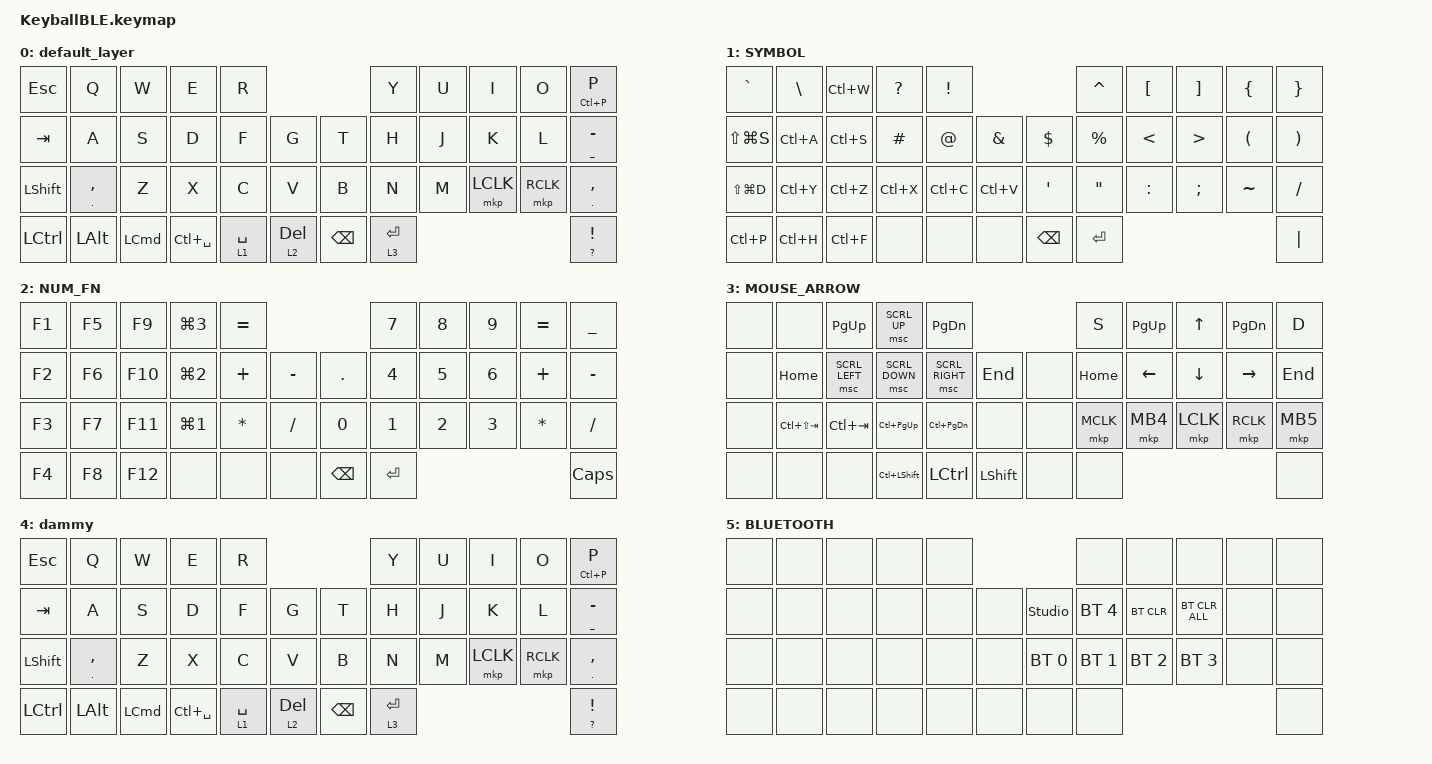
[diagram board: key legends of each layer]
#include <behaviors.dtsi>
#include <dt-bindings/zmk/bt.h>
#include <dt-bindings/zmk/keys.h>
#include <dt-bindings/zmk/pointing.h>

#define MOUSE 4
#define SCROLL 5
#define NUM 6

/ {
    combos { compatible = "zmk,combos"; };

    keymap {
        compatible = "zmk,keymap";

        default_layer {
            bindings = <
&kp ESCAPE        &kp Q             &kp W             &kp E          &kp R                                         &kp Y        &kp U  &kp I      &kp O      &mt LC(P) P
&kp TAB           &kp A             &kp S             &kp D          &kp F        &kp G             &kp T          &kp H        &kp J  &kp K      &kp L      &mt UNDERSCORE MINUS
&kp LEFT_SHIFT    &mt PERIOD COMMA  &kp Z             &kp X          &kp C        &kp V             &kp B          &kp N        &kp M  &mkp LCLK  &mkp RCLK  &mt PERIOD COMMA
&kp LEFT_CONTROL  &kp LEFT_ALT      &kp LEFT_COMMAND  &kp LC(SPACE)  &lt 1 SPACE  &lt 2 DELETE      &kp BACKSPACE  &lt 3 ENTER                               &mt QUESTION EXCLAMATION
            >;
        };

        SYMBOL {
            bindings = <
&kp GRAVE      &kp BACKSLASH  &kp LC(W)  &kp QUESTION  &kp EXCLAMATION                                    &kp CARET          &kp LEFT_BRACKET  &kp RIGHT_BRACKET  &kp LEFT_BRACE        &kp RIGHT_BRACE
&kp LS(LG(S))  &kp LC(A)      &kp LC(S)  &kp HASH      &kp AT_SIGN      &kp AMPERSAND      &kp DOLLAR     &kp PERCENT        &kp LESS_THAN     &kp GREATER_THAN   &kp LEFT_PARENTHESIS  &kp RIGHT_PARENTHESIS
&kp LS(LG(D))  &kp LC(Y)      &kp LC(Z)  &kp LC(X)     &kp LC(C)        &kp LC(V)          &kp SQT        &kp DOUBLE_QUOTES  &kp COLON         &kp SEMICOLON      &kp TILDE             &kp SLASH
&kp LC(P)      &kp LC(H)      &kp LC(F)  &none         &none            &none              &kp BACKSPACE  &kp ENTER                                                                     &kp PIPE
            >;
        };

        NUM_FN {
            bindings = <
&kp F1  &kp F5  &kp F9   &kp LG(NUMBER_3)  &kp EQUAL                                   &kp NUMBER_7  &kp NUMBER_8  &kp NUMBER_9  &kp EQUAL     &kp UNDERSCORE
&kp F2  &kp F6  &kp F10  &kp LG(NUMBER_2)  &kp PLUS      &kp MINUS      &kp PERIOD     &kp NUMBER_4  &kp NUMBER_5  &kp NUMBER_6  &kp PLUS      &kp MINUS
&kp F3  &kp F7  &kp F11  &kp LG(NUMBER_1)  &kp ASTERISK  &kp SLASH      &kp NUMBER_0   &kp NUMBER_1  &kp NUMBER_2  &kp NUMBER_3  &kp ASTERISK  &kp SLASH
&kp F4  &kp F8  &kp F12  &none             &none         &none          &kp BACKSPACE  &kp ENTER                                               &kp CAPSLOCK
            >;
        };

        MOUSE_ARROW {
            bindings = <
&none  &none            &kp PAGE_UP     &msc SCRL_UP        &kp PAGE_DOWN                                 &kp S      &kp PAGE_UP     &kp UP_ARROW    &kp PAGE_DOWN    &kp D
&none  &kp HOME         &msc SCRL_LEFT  &msc SCRL_DOWN      &msc SCRL_RIGHT    &kp END             &none  &kp HOME   &kp LEFT_ARROW  &kp DOWN_ARROW  &kp RIGHT_ARROW  &kp END
&none  &kp LC(LS(TAB))  &kp LC(TAB)     &kp LC(PAGE_UP)     &kp LC(PAGE_DOWN)  &none               &none  &mkp MCLK  &mkp MB4        &mkp LCLK       &mkp RCLK        &mkp MB5
&none  &none            &none           &kp LC(LEFT_SHIFT)  &kp LEFT_CONTROL   &kp LEFT_SHIFT      &none  &none                                                       &none
            >;
        };

        dammy {
            bindings = <
&kp ESCAPE        &kp Q             &kp W             &kp E          &kp R                                         &kp Y        &kp U  &kp I      &kp O      &mt LC(P) P
&kp TAB           &kp A             &kp S             &kp D          &kp F        &kp G             &kp T          &kp H        &kp J  &kp K      &kp L      &mt UNDERSCORE MINUS
&kp LEFT_SHIFT    &mt PERIOD COMMA  &kp Z             &kp X          &kp C        &kp V             &kp B          &kp N        &kp M  &mkp LCLK  &mkp RCLK  &mt PERIOD COMMA
&kp LEFT_CONTROL  &kp LEFT_ALT      &kp LEFT_COMMAND  &kp LC(SPACE)  &lt 1 SPACE  &lt 2 DELETE      &kp BACKSPACE  &lt 3 ENTER                               &mt QUESTION EXCLAMATION
            >;
        };

        BLUETOOTH {
            bindings = <
&none  &none  &none  &none  &none                             &none         &none         &none           &none  &none
&none  &none  &none  &none  &none  &none      &studio_unlock  &bt BT_SEL 4  &bt BT_CLR    &bt BT_CLR_ALL  &none  &none
&none  &none  &none  &none  &none  &none      &bt BT_SEL 0    &bt BT_SEL 1  &bt BT_SEL 2  &bt BT_SEL 3    &none  &none
&none  &none  &none  &none  &none  &none      &none           &none                                              &none
            >;
        };
    };
};
